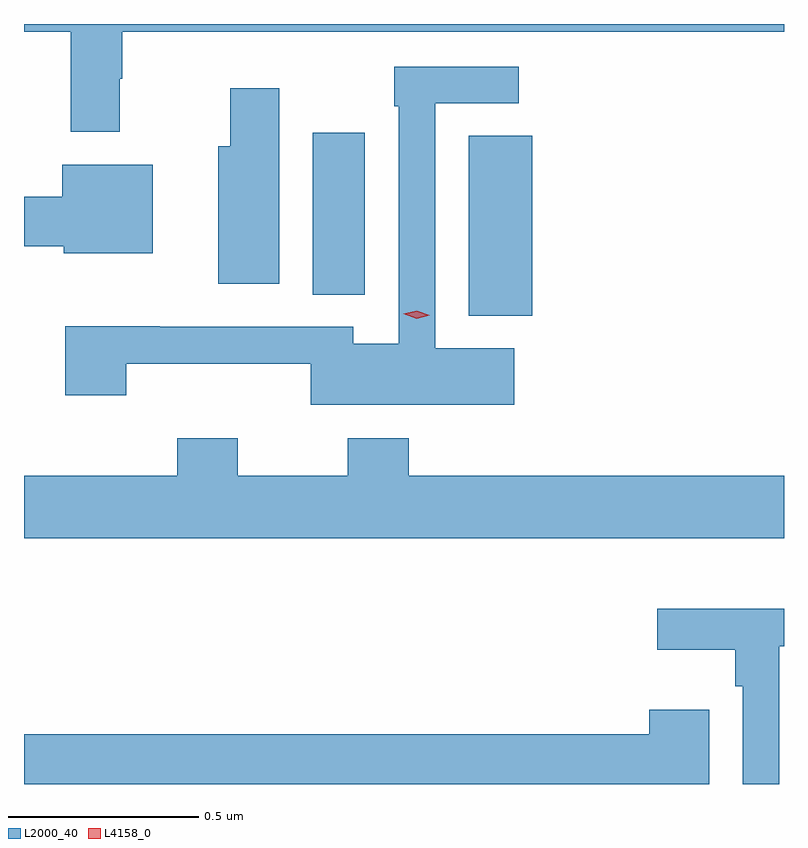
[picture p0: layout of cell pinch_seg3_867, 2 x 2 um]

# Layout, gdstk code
import gdstk
lib = gdstk.Library(unit=1e-6, precision=1e-09)
def R(c, l, rs):  # rectangles x0, y0, x1, y1
    for r in rs: c.add(gdstk.rectangle(r[:2], r[2:], *l))
def P(c, l, *ps):  # polygons
    for p in ps: c.add(gdstk.Polygon(p, *l))
L2000_40 = (2000, 40)
L4158_0 = (4158, 0)

pinch_seg3_867 = lib.new_cell('pinch_seg3_867')
R(pinch_seg3_867, L2000_40, [(702.335,692.177,702.502,692.651), (701.924,692.233,702.061,692.659)])
P(pinch_seg3_867, L2000_40, [(701.416,692.801),(701.423,692.801),(701.423,692.924),(703.164,692.924),(703.164,692.945),(701.164,692.945),(701.164,692.924),(701.287,692.924),(701.287,692.661),(701.416,692.661)],
  [(702.454,692.092),(702.246,692.092),(702.246,692.736),(702.466,692.736),(702.466,692.832),(702.138,692.832),(702.138,692.729),(702.15,692.729),(702.15,692.104),(702.031,692.104),(702.031,692.148),(701.521,692.148),(701.521,692.15),(701.273,692.15),(701.273,691.968),(701.433,691.968),(701.433,692.051),(701.918,692.051),(701.918,691.943),(702.454,691.943)],
  [(701.836,692.776),(701.707,692.776),(701.707,692.623),(701.675,692.623),(701.675,692.262),(701.836,692.262)],
  [(701.503,692.575),(701.264,692.575),(701.264,692.49),(701.164,692.49),(701.164,692.36),(701.268,692.36),(701.268,692.342),(701.503,692.342)],
  [(703.164,691.756),(702.176,691.756),(702.176,691.855),(702.016,691.855),(702.016,691.756),(701.727,691.756),(701.727,691.855),(701.567,691.855),(701.567,691.756),(701.164,691.756),(701.164,691.592),(703.164,691.592)],
  [(703.152,691.308),(703.164,691.308),(703.164,691.406),(702.831,691.406),(702.831,691.298),(703.036,691.298),(703.036,691.202),(703.056,691.202),(703.056,690.945),(703.152,690.945)],
  [(702.967,691.141),(702.809,691.141),(702.809,691.076),(701.164,691.076),(701.164,690.945),(702.967,690.945)])
P(pinch_seg3_867, L4158_0, [(702.197,692.17),(702.162,692.182),(702.162,692.182),(702.162,692.182),(702.197,692.19),(702.232,692.179),(702.232,692.179),(702.232,692.179)])

lib.write_gds('pinch_seg3_867.gds')
